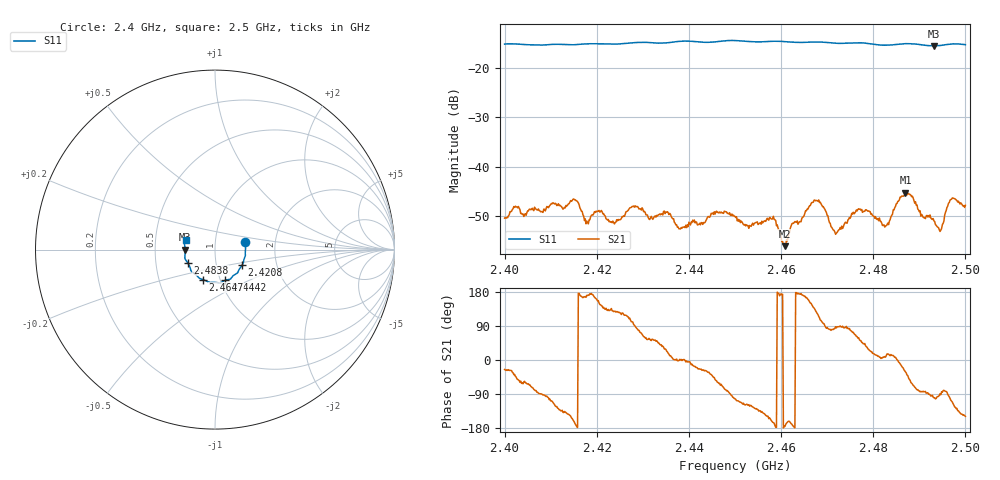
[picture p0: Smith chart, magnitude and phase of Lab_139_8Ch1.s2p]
# Hz S RI R 50
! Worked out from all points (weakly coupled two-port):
!   601 points, 2.4 GHz to 2.5 GHz, reference 50 ohm
!   highest |S21| = -45.29 dB at 2.487 GHz (marker M1); lowest = -56.1 dB at 2.4608 GHz (marker M2)
!   lowest |S11| = -15.6 dB at 2.4932 GHz (marker M3), VSWR 1.40, Z = 35.8 - j0.0858 ohm
!   |S11| at or under -10 dB: start of sweep to end of sweep
!   S12 and S22 are empty: the file has one direction only
!   S11 on the Smith chart (normalised r, x): 2.4 GHz: 1.40, +0.12; 2.4208 GHz: 1.33, -0.24; 2.4442 GHz: 1.05, -0.37; 2.4647 GHz: 0.83, -0.29; 2.4838 GHz: 0.73, -0.11; 2.5 GHz: 0.72, +0.08
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2.4e9  0.1679 0.041  0.00272 -0.00128  0 0  0 0
2.414833e9  0.161 -0.0553  -0.00432 -0.00175  0 0  0 0
2.416667e9  0.1589 -0.0681  -0.00346 0.000729  0 0  0 0
2.417833e9  0.1566 -0.0754  -0.00277 0.000452  0 0  0 0
2.420833e9  0.1507 -0.0872  -0.0029 0.00198  0 0  0 0
2.433333e9  0.1078 -0.1401  0.00229 0.00229  0 0  0 0
2.438e9  0.088 -0.1624  0.00234 6.73e-05  0 0  0 0
2.444167e9  0.0569 -0.1711  0.00263 -0.00168  0 0  0 0
2.45e9  0.0247 -0.1864  -0.000676 -0.00306  0 0  0 0
2.458333e9  -0.0274 -0.183  -0.00303 -0.000806  0 0  0 0
2.460833e9  -0.0399 -0.1786  -0.00156 -0.000125  0 0  0 0
2.464667e9  -0.0672 -0.1669  -0.00304 0.000465  0 0  0 0
2.466667e9  -0.0801 -0.1627  -0.00359 0.0024  0 0  0 0
2.471833e9  -0.1009 -0.1448  7.85e-05 0.00206  0 0  0 0
2.476833e9  -0.1313 -0.1206  0.00194 0.00319  0 0  0 0
2.483333e9  -0.1505 -0.0762  0.00249 0.000683  0 0  0 0
2.483833e9  -0.1531 -0.0721  0.003 0.000771  0 0  0 0
2.487e9  -0.1668 -0.0523  0.00465 -0.00282  0 0  0 0
2.493167e9  -0.1658 -0.00117  -0.000473 -0.00279  0 0  0 0
2.494833e9  -0.1673 0.0163  0.00025 -0.00234  0 0  0 0
2.497167e9  -0.1705 0.0336  -0.00172 -0.00449  0 0  0 0
2.5e9  -0.1626 0.0528  -0.00347 -0.00209  0 0  0 0
